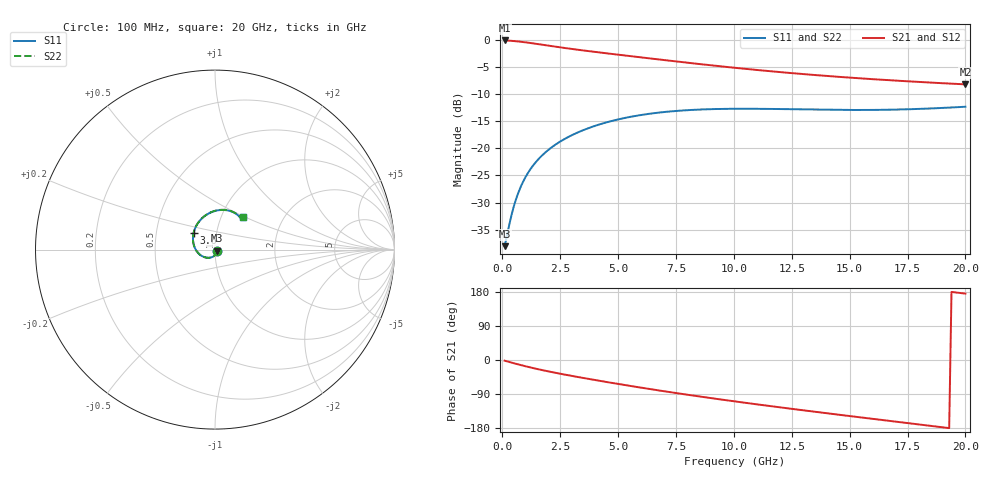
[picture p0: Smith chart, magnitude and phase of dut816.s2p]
! Touchstone file exported from HFSS 2024.1.0
!  File:  C:/UserFiles/LocalFiles/RDL_TSV_Batchsim/temp_RDL_TSV_816_1779914098.aedt
!  Generated:  04:48:29 AM May 28, 2026
!  Design:  RDL_TSV
!  Project:  temp_RDL_TSV_816_1779914098
!  Setup:  Setup1
!  Solution:  Sweep
! Variables:
!  dtsv = 14.76um
!  hbump = 3um
!  htsv = 71.27um
!  ldown = 299.16um
!  lrdl = 413.82um
!  p = 40
!  p1 = 45.75um
!  rhole = 10um
!  subl = 2552.76um
!  t = 450um
!  tdown = 2.26um
!  trdl = 4.02um
!  viad = 10um
!  wdown = 28.78um
!  wrdl = 24.71um
!  xbump = 18um
# GHz S MA R 50.000000
! Terminal data exported
! Port[1] = TM1_1_T1
! Port[2] = TM1_4_T1
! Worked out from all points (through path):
!   200 points, 100 MHz to 20 GHz, reference 50 ohm
!   highest |S21| = -0.11 dB at 100 MHz (marker M1); lowest = -8.2 dB at 20 GHz (marker M2)
!   group delay of S21, straight-line fit = 24.3 ps
!   lowest |S11| = -38.0 dB at 100 MHz (marker M3), VSWR 1.03, Z = 51.1 - j0.581 ohm
!   |S11| at or under -10 dB: start of sweep to end of sweep
!   |S22| runs from -38.0 to -12.3 dB; largest |S21 - S12| = 1.5e-14
!   S11 on the Smith chart (normalised r, x): 100 MHz: 1.02, -0.01; 3.6 GHz: 0.77, +0.14; 20 GHz: 1.27, +0.49
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0.1  0.01252 -27.0  0.9879 -1.8  0.9879 -1.8  0.01252 -27.0
! Gamma 0 0 0 0
! Port Impedance 50 0 50 0
0.4  0.02434 -77.1  0.9798 -6.9  0.9798 -6.9  0.02434 -77.1
0.6  0.0343 -96.1  0.9715 -10.2  0.9715 -10.2  0.03431 -96.1
0.9  0.04927 -117.4  0.9558 -15.0  0.9558 -15.0  0.04928 -117.4
1.2  0.06351 -134.5  0.9373 -19.5  0.9373 -19.5  0.06354 -134.5
1.6  0.08109 -153.7  0.9107 -25.0  0.9107 -25.0  0.08115 -153.7
2.1  0.1009 -173.7  0.8779 -31.4  0.8779 -31.4  0.1011 -173.7
2.7  0.1222 166.5  0.8416 -38.6  0.8416 -38.6  0.1224 166.4
3.5  0.1472 145.2  0.799 -47.5  0.799 -47.5  0.1475 145.1
3.6  0.1501 142.8  0.794 -48.5  0.794 -48.5  0.1504 142.8
4.3  0.1687 128.1  0.761 -56.0  0.761 -56.0  0.1691 128.1
5.1  0.1868 114.1  0.7261 -64.2  0.7261 -64.2  0.1873 114.0
5.9  0.2014 102.4  0.6933 -72.1  0.6933 -72.1  0.2021 102.3
6.8  0.2139 91.4  0.6585 -80.7  0.6585 -80.7  0.2147 91.3
8.4  0.2272 76.1  0.6024 -95.2  0.6024 -95.2  0.228 76.1
10.1  0.2317 64.7  0.5513 -109.7  0.5513 -109.7  0.2326 64.6
11.7  0.2306 57.4  0.5111 -122.6  0.5111 -122.6  0.2316 57.4
13.4  0.2276 52.7  0.4759 -135.8  0.4759 -135.8  0.2285 52.6
15  0.2258 50.4  0.4487 -147.9  0.4487 -147.9  0.2266 50.3
16.7  0.227 49.5  0.4249 -160.6  0.4249 -160.6  0.2278 49.5
18.3  0.2322 49.5  0.406 -172.3  0.406 -172.3  0.2329 49.4
20  0.2418 49.5  0.3889 175.2  0.3889 175.2  0.2425 49.4
